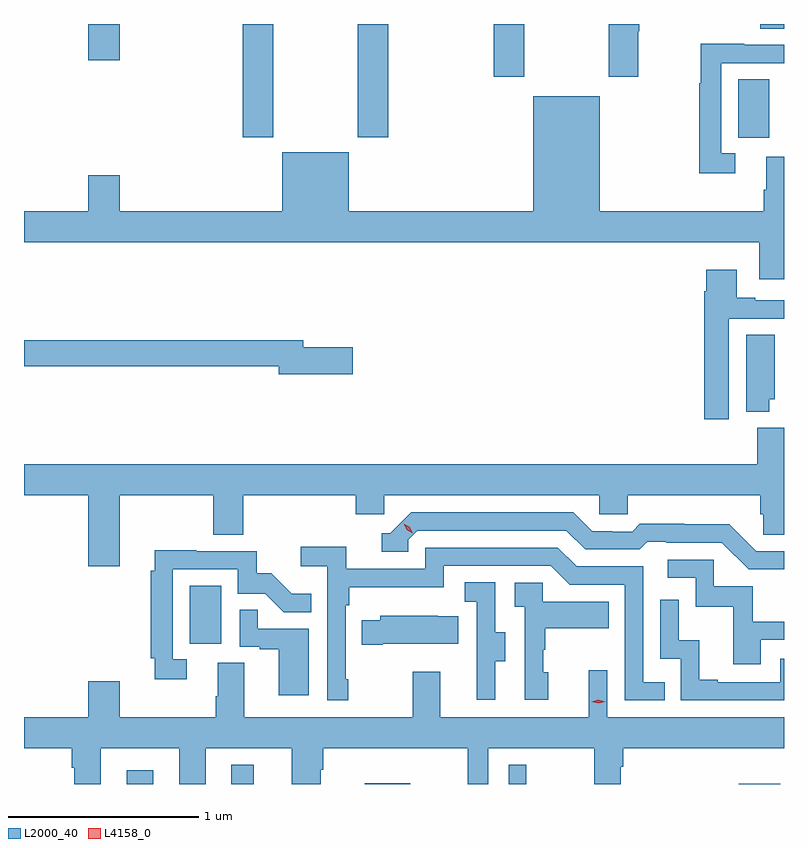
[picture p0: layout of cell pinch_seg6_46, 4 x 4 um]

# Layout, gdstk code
import gdstk
lib = gdstk.Library(unit=1e-6, precision=1e-09)
def R(c, l, rs):  # rectangles x0, y0, x1, y1
    for r in rs: c.add(gdstk.rectangle(r[:2], r[2:], *l))
def P(c, l, *ps):  # polygons
    for p in ps: c.add(gdstk.Polygon(p, *l))
L2000_40 = (2000, 40)
L4158_0 = (4158, 0)

pinch_seg6_46 = lib.new_cell('pinch_seg6_46')
R(pinch_seg6_46, L2000_40, [(992.381,939.157,992.521,939.229), (992.933,939.157,993.049,939.259), (993.634,939.157,993.874,939.161), (994.392,939.157,994.485,939.259), (995.603,939.157,995.821,939.158), (992.714,939.894,992.878,940.201), (995.6,942.558,995.764,942.865), (992.993,942.561,993.153,943.157), (993.598,942.561,993.758,943.157), (994.313,942.879,994.473,943.157), (992.18,942.966,992.344,943.157), (995.717,943.132,995.841,943.157)])
P(pinch_seg6_46, L2000_40, [(995.073,943.118),(995.078,943.118),(995.078,943.157),(994.918,943.157),(994.918,942.879),(995.073,942.879)],
  [(995.584,942.477),(995.511,942.477),(995.511,942.951),(995.841,942.951),(995.841,943.047),(995.633,943.047),(995.633,943.052),(995.403,943.052),(995.403,942.844),(995.395,942.844),(995.395,942.372),(995.584,942.372)],
  [(995.841,942.458),(995.747,942.458),(995.747,942.284),(995.735,942.284),(995.735,942.172),(994.87,942.172),(994.87,942.778),(994.52,942.778),(994.52,942.172),(993.55,942.172),(993.55,942.481),(993.2,942.481),(993.2,942.172),(992.344,942.172),(992.344,942.361),(992.18,942.361),(992.18,942.172),(991.841,942.172),(991.841,942.008),(995.711,942.008),(995.711,941.814),(995.841,941.814)],
  [(995.551,941.607),(995.841,941.607),(995.841,941.703),(995.689,941.703),(995.689,941.716),(995.593,941.716),(995.593,941.863),(995.432,941.863),(995.432,941.75),(995.42,941.75),(995.42,941.076),(995.551,941.076)],
  [(995.764,941.181),(995.791,941.181),(995.791,941.522),(995.642,941.522),(995.642,941.117),(995.764,941.117)],
  [(993.571,941.456),(993.31,941.456),(993.31,941.492),(991.841,941.492),(991.841,941.356),(993.182,941.356),(993.182,941.314),(993.571,941.314)],
  [(992.344,940.676),(992.836,940.676),(992.836,940.468),(992.996,940.468),(992.996,940.676),(993.587,940.676),(993.587,940.578),(993.738,940.578),(993.738,940.676),(994.869,940.676),(994.869,940.578),(995.019,940.578),(995.019,940.676),(995.717,940.676),(995.717,940.578),(995.731,940.578),(995.731,940.468),(995.841,940.468),(995.841,941.032),(995.699,941.032),(995.699,940.84),(991.841,940.84),(991.841,940.676),(992.18,940.676),(992.18,940.302),(992.344,940.302)],
  [(995.841,940.383),(995.694,940.383),(995.552,940.525),(995.316,940.525),(995.316,940.528),(995.083,940.528),(995.041,940.485),(994.938,940.485),(994.938,940.488),(994.831,940.488),(994.732,940.587),(993.879,940.587),(993.768,940.476),(993.725,940.476),(993.725,940.38),(993.864,940.38),(993.864,940.443),(993.912,940.491),(994.695,940.491),(994.794,940.392),(995.083,940.392),(995.122,940.431),(995.221,940.431),(995.221,940.428),(995.514,940.428),(995.655,940.287),(995.841,940.287)],
  [(993.547,939.709),(993.534,939.709),(993.534,940.097),(993.554,940.097),(993.554,940.193),(994.05,940.193),(994.05,940.305),(994.614,940.305),(994.713,940.206),(995.004,940.206),(995.004,939.597),(995.213,939.597),(995.213,939.693),(995.1,939.693),(995.1,940.302),(994.75,940.302),(994.651,940.401),(993.954,940.401),(993.954,940.29),(993.536,940.29),(993.536,940.406),(993.297,940.406),(993.297,940.304),(993.438,940.304),(993.438,939.597),(993.547,939.597)],
  [(992.698,939.813),(992.625,939.813),(992.625,940.287),(992.967,940.287),(992.967,940.158),(993.111,940.158),(993.209,940.06),(993.353,940.06),(993.353,940.159),(993.249,940.159),(993.142,940.266),(993.066,940.266),(993.066,940.383),(992.747,940.383),(992.747,940.388),(992.528,940.388),(992.528,940.28),(992.509,940.28),(992.509,939.82),(992.528,939.82),(992.528,939.708),(992.698,939.708)],
  [(995.719,939.915),(995.841,939.915),(995.841,940.011),(995.677,940.011),(995.677,940.197),(995.472,940.197),(995.472,940.338),(995.229,940.338),(995.229,940.242),(995.376,940.242),(995.376,940.089),(995.575,940.089),(995.575,939.786),(995.719,939.786)],
  [(994.321,939.802),(994.375,939.802),(994.375,939.957),(994.32,939.957),(994.32,940.22),(994.161,940.22),(994.161,940.117),(994.224,940.117),(994.224,939.813),(994.223,939.813),(994.223,939.6),(994.321,939.6)],
  [(994.6,939.744),(994.575,939.744),(994.575,939.863),(994.585,939.863),(994.585,939.977),(994.919,939.977),(994.919,940.117),(994.572,940.117),(994.572,940.215),(994.425,940.215),(994.425,940.091),(994.476,940.091),(994.476,939.6),(994.6,939.6)],
  [(995.841,939.816),(995.82,939.816),(995.82,939.693),(995.491,939.693),(995.491,939.706),(995.396,939.706),(995.396,939.914),(995.286,939.914),(995.286,940.126),(995.19,940.126),(995.19,939.816),(995.298,939.816),(995.298,939.597),(995.841,939.597)],
  [(993.34,939.975),(993.071,939.975),(993.071,940.073),(992.976,940.073),(992.976,939.879),(993.083,939.879),(993.083,939.867),(993.182,939.867),(993.182,939.624),(993.34,939.624)],
  [(993.73,939.896),(994.127,939.896),(994.127,940.039),(994.019,940.039),(994.019,940.042),(993.717,940.042),(993.717,940.018),(993.619,940.018),(993.619,939.889),(993.73,939.889)],
  [(994.911,939.757),(994.814,939.757),(994.814,939.508),(994.033,939.508),(994.033,939.748),(993.886,939.748),(993.886,939.508),(993.001,939.508),(993.001,939.794),(992.861,939.794),(992.861,939.62),(992.849,939.62),(992.849,939.508),(992.344,939.508),(992.344,939.697),(992.18,939.697),(992.18,939.508),(991.841,939.508),(991.841,939.344),(992.093,939.344),(992.093,939.243),(992.105,939.243),(992.105,939.157),(992.245,939.157),(992.245,939.344),(992.657,939.344),(992.657,939.157),(992.797,939.157),(992.797,939.344),(993.251,939.344),(993.251,939.157),(993.403,939.157),(993.403,939.231),(993.416,939.231),(993.416,939.344),(994.176,939.344),(994.176,939.157),(994.284,939.157),(994.284,939.344),(994.841,939.344),(994.841,939.157),(994.981,939.157),(994.981,939.248),(994.994,939.248),(994.994,939.344),(995.841,939.344),(995.841,939.508),(994.911,939.508)])
P(pinch_seg6_46, L4158_0, [(994.864,939.581),(994.829,939.591),(994.829,939.591),(994.829,939.591),(994.864,939.601),(994.899,939.591),(994.899,939.591),(994.899,939.591)],
  [(993.887,940.476),(993.856,940.495),(993.84,940.528),(993.84,940.528),(993.84,940.528),(993.871,940.509),(993.887,940.476),(993.887,940.476)])

lib.write_gds('pinch_seg6_46.gds')
